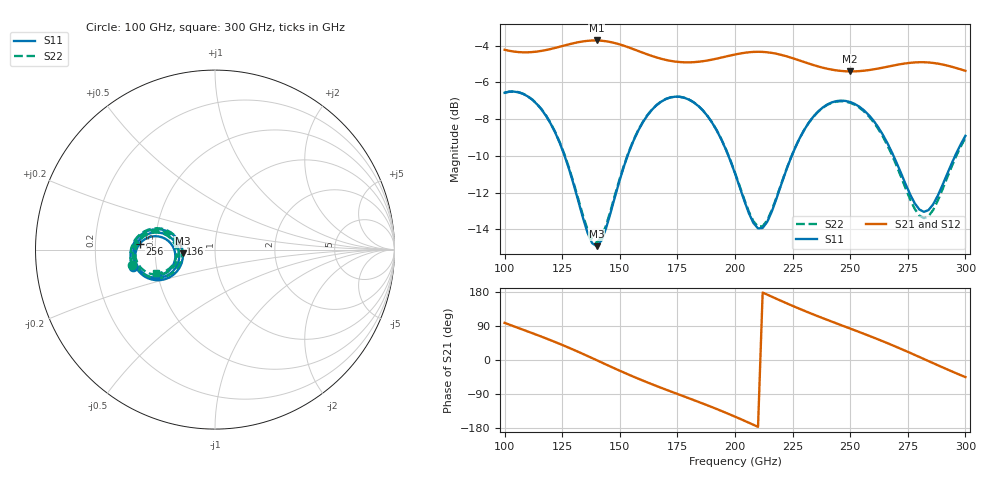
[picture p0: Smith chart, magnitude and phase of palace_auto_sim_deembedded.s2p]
! Created with skrf 1.11.0 (http://scikit-rf.org).
# GHz S DB R 50.0
!freq dBS11 angS11 dBS21 angS21 dBS12 angS12 dBS22 angS22
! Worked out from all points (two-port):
!   101 points, 100 GHz to 300 GHz, reference 50 ohm
!   highest |S21| = -3.72 dB at 140 GHz (marker M1); lowest = -5.4 dB at 250 GHz (marker M2)
!   |S21| within 3 dB of the highest: start of sweep to end of sweep
!   lowest |S11| = -14.9 dB at 140 GHz (marker M3), VSWR 1.44, Z = 34.8 - j1.49 ohm
!   |S11| at or under -10 dB: 126.1 GHz to 153.4 GHz (27.33 GHz wide, 19.6 % of centre); 197.1 GHz to 224.6 GHz (27.5 GHz wide, 13 % of centre); 268.8 GHz to 295.5 GHz (26.74 GHz wide, 9.48 % of centre)
!   |S22| runs from -14.7 to -6.5 dB; largest |S21 - S12| = 9.4e-14
!   S11 on the Smith chart (normalised r, x): 100 GHz: 0.36, -0.09; 136 GHz: 0.68, +0.05; 256 GHz: 0.41, +0.03; 300 GHz: 0.49, -0.16
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100  -6.57 -168.1  -4.23 98.0  -4.23 98.0  -6.56 -169.2
108  -6.63 -180.0  -4.37 79.9  -4.37 79.9  -6.62 179.0
118  -7.83 166.6  -4.24 56.9  -4.24 56.9  -7.81 165.6
126  -9.98 159.4  -4.00 37.3  -4.00 37.3  -9.93 158.5
134  -13.37 164.7  -3.78 16.0  -3.78 16.0  -13.23 163.8
136  -14.18 170.3  -3.74 10.5  -3.74 10.5  -14.02 169.2
140  -14.91 -173.4  -3.72 -0.6  -3.72 -0.6  -14.71 -175.0
146  -13.09 -153.0  -3.81 -17.3  -3.81 -17.3  -12.97 -155.3
154  -9.78 -149.4  -4.11 -39.0  -4.11 -39.0  -9.74 -151.7
168  -7.05 -164.8  -4.72 -73.5  -4.72 -73.5  -7.04 -166.9
184  -7.28 174.3  -4.88 -110.2  -4.88 -110.2  -7.27 172.1
200  -10.95 163.0  -4.49 -149.5  -4.49 -149.5  -10.91 160.8
208  -13.65 176.1  -4.35 -171.0  -4.35 -171.0  -13.56 173.7
212  -13.92 -170.4  -4.35 178.0  -4.35 178.0  -13.82 -173.2
224  -10.19 -151.7  -4.65 145.5  -4.65 145.5  -10.17 -154.8
234  -7.87 -158.8  -5.06 120.3  -5.06 120.3  -7.88 -162.1
250  -7.07 -177.7  -5.41 82.9  -5.41 82.9  -7.11 178.8
256  -7.52 175.5  -5.37 69.0  -5.37 69.0  -7.58 171.9
268  -9.78 166.9  -5.11 39.8  -5.11 39.8  -9.91 162.9
282  -13.04 -174.1  -4.91 2.6  -4.91 2.6  -13.39 -177.2
290  -11.61 -157.2  -5.03 -19.1  -5.03 -19.1  -11.84 -159.3
300  -8.91 -155.9  -5.37 -45.2  -5.37 -45.2  -9.02 -158.2
